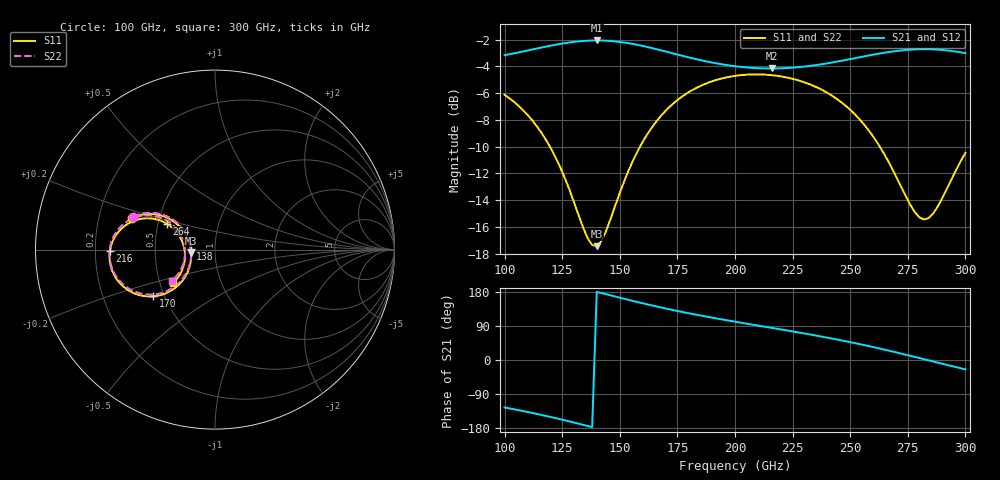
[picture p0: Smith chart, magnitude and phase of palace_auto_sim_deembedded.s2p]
! Created with skrf 1.11.0 (http://scikit-rf.org).
# GHz S DB R 50.0
!freq dBS11 angS11 dBS21 angS21 dBS12 angS12 dBS22 angS22
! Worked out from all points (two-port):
!   101 points, 100 GHz to 300 GHz, reference 50 ohm
!   highest |S21| = -2.05 dB at 140 GHz (marker M1); lowest = -4.1 dB at 216 GHz (marker M2)
!   |S21| within 3 dB of the highest: start of sweep to end of sweep
!   lowest |S11| = -17.5 dB at 140 GHz (marker M3), VSWR 1.31, Z = 38.3 - j1.52 ohm
!   |S11| at or under -10 dB: 119.7 GHz to 158.8 GHz (39.13 GHz wide, 28.1 % of centre); 262.8 GHz to end of sweep
!   |S22| runs from -17.5 to -4.6 dB; largest |S21 - S12| = 8.4e-14
!   S11 on the Smith chart (normalised r, x): 100 GHz: 0.35, +0.16; 138 GHz: 0.76, +0.01; 170 GHz: 0.43, -0.28; 216 GHz: 0.26, -0.01; 264 GHz: 0.56, +0.18; 300 GHz: 0.58, -0.24
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100  -6.12 159.2  -3.15 -125.2  -3.15 -125.2  -6.13 158.2
118  -9.50 146.8  -2.51 -147.7  -2.51 -147.7  -9.51 145.6
126  -12.29 146.5  -2.26 -159.0  -2.26 -159.0  -12.31 145.3
134  -16.02 160.2  -2.09 -170.9  -2.09 -170.9  -16.05 158.8
138  -17.36 177.7  -2.06 -177.1  -2.06 -177.1  -17.40 176.3
140  -17.45 -171.7  -2.05 179.8  -2.05 179.8  -17.49 -172.9
144  -16.34 -152.8  -2.07 173.6  -2.07 173.6  -16.37 -154.1
152  -12.55 -137.0  -2.21 161.4  -2.21 161.4  -12.56 -138.3
160  -9.62 -136.7  -2.46 149.6  -2.46 149.6  -9.63 -138.2
168  -7.67 -141.4  -2.79 138.5  -2.79 138.5  -7.68 -143.0
170  -7.30 -142.9  -2.88 135.8  -2.88 135.8  -7.30 -144.4
184  -5.53 -154.1  -3.48 118.6  -3.48 118.6  -5.54 -155.9
200  -4.70 -166.9  -3.98 101.1  -3.98 101.1  -4.71 -168.8
216  -4.65 -179.2  -4.15 84.7  -4.15 84.7  -4.66 178.8
234  -5.44 167.4  -3.92 65.8  -3.92 65.8  -5.45 165.2
250  -7.24 156.5  -3.45 47.1  -3.45 47.1  -7.25 154.0
264  -10.33 151.7  -2.99 28.6  -2.99 28.6  -10.35 149.0
268  -11.58 153.0  -2.89 22.9  -2.89 22.9  -11.61 150.2
278  -14.89 170.3  -2.72 8.2  -2.72 8.2  -14.97 167.5
282  -15.45 -175.8  -2.71 2.1  -2.71 2.1  -15.54 -178.5
288  -14.48 -155.6  -2.74 -6.9  -2.74 -6.9  -14.56 -158.2
300  -10.46 -141.5  -3.00 -24.7  -3.00 -24.7  -10.50 -144.1
